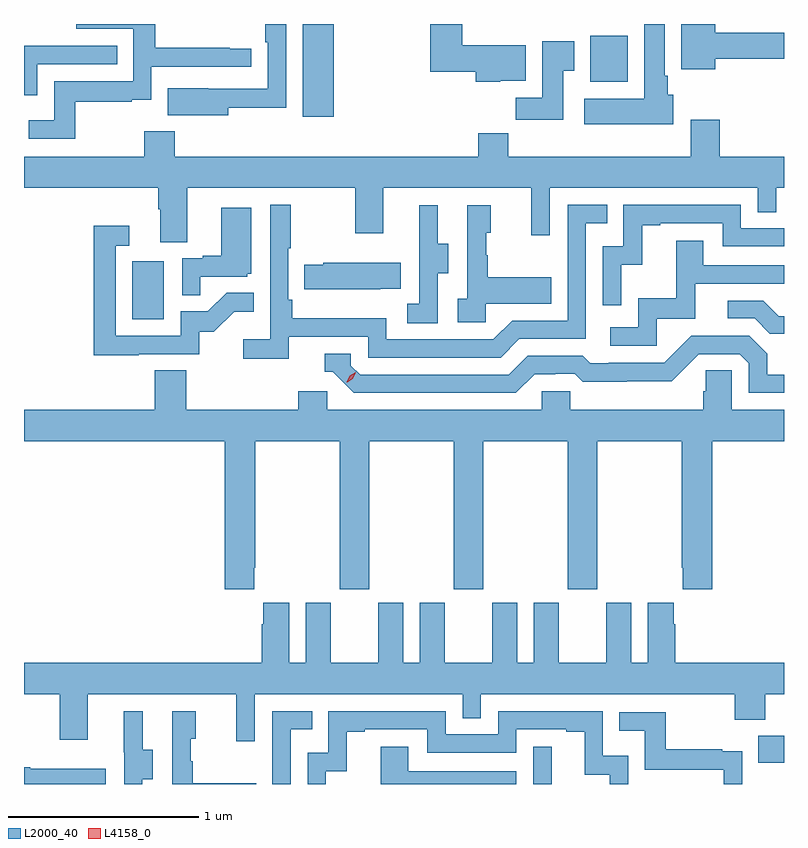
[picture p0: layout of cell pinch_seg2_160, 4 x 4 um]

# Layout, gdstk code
import gdstk
lib = gdstk.Library(unit=1e-6, precision=1e-09)
def R(c, l, rs):  # rectangles x0, y0, x1, y1
    for r in rs: c.add(gdstk.rectangle(r[:2], r[2:], *l))
def P(c, l, *ps):  # polygons
    for p in ps: c.add(gdstk.Polygon(p, *l))
L2000_40 = (2000, 40)
L4158_0 = (4158, 0)

pinch_seg2_160 = lib.new_cell('pinch_seg2_160')
R(pinch_seg2_160, L2000_40, [(1104.27,624.519,1104.367,624.715), (1105.453,624.632,1105.589,624.772), (1102.16,626.964,1102.324,627.271), (1103.057,628.032,1103.218,628.519), (1104.569,628.214,1104.766,628.456)])
P(pinch_seg2_160, L2000_40, [(1105.006,628.146),(1104.976,628.146),(1104.976,628.246),(1104.961,628.246),(1104.961,628.519),(1104.854,628.519),(1104.854,628.126),(1104.537,628.126),(1104.537,627.992),(1105.006,627.992)],
  [(1102.663,628.078),(1102.968,628.078),(1102.968,628.519),(1102.859,628.519),(1102.859,628.424),(1102.872,628.424),(1102.872,628.179),(1102.559,628.179),(1102.559,628.18),(1102.345,628.18),(1102.345,628.04),(1102.663,628.04)],
  [(1105.228,628.336),(1105.589,628.336),(1105.589,628.472),(1105.228,628.472),(1105.228,628.519),(1105.049,628.519),(1105.049,628.28),(1105.228,628.28)],
  [(1104.096,628.22),(1104.229,628.22),(1104.229,628.408),(1103.896,628.408),(1103.896,628.519),(1103.726,628.519),(1103.726,628.268),(1103.966,628.268),(1103.966,628.214),(1104.096,628.214)],
  [(1101.859,628.11),(1102.157,628.11),(1102.157,628.121),(1102.26,628.121),(1102.26,628.293),(1102.786,628.293),(1102.786,628.389),(1102.673,628.389),(1102.673,628.394),(1102.28,628.394),(1102.28,628.519),(1101.863,628.519),(1101.863,628.494),(1102.164,628.494),(1102.164,628.218),(1101.748,628.218),(1101.748,628.012),(1101.613,628.012),(1101.613,627.915),(1101.859,627.915)],
  [(1104.427,628.273),(1104.484,628.273),(1104.484,628.429),(1104.317,628.429),(1104.317,628.132),(1104.178,628.132),(1104.178,628.014),(1104.427,628.014)],
  [(1101.66,628.308),(1102.079,628.308),(1102.079,628.404),(1101.589,628.404),(1101.589,628.145),(1101.66,628.145)],
  [(1105.452,627.529),(1105.548,627.529),(1105.548,627.656),(1105.589,627.656),(1105.589,627.82),(1105.25,627.82),(1105.25,628.015),(1105.097,628.015),(1105.097,627.82),(1104.137,627.82),(1104.137,627.944),(1103.981,627.944),(1103.981,627.82),(1102.382,627.82),(1102.382,627.955),(1102.222,627.955),(1102.222,627.82),(1101.589,627.82),(1101.589,627.656),(1102.295,627.656),(1102.295,627.544),(1102.307,627.544),(1102.307,627.37),(1102.447,627.37),(1102.447,627.656),(1103.332,627.656),(1103.332,627.417),(1103.479,627.417),(1103.479,627.656),(1104.26,627.656),(1104.26,627.408),(1104.357,627.408),(1104.357,627.656),(1105.452,627.656)],
  [(1102.982,626.874),(1103.4,626.874),(1103.4,626.763),(1104.097,626.763),(1104.196,626.862),(1104.546,626.862),(1104.546,627.471),(1104.659,627.471),(1104.659,627.567),(1104.45,627.567),(1104.45,626.958),(1104.159,626.958),(1104.06,626.859),(1103.496,626.859),(1103.496,626.971),(1103,626.971),(1103,627.067),(1102.98,627.067),(1102.98,627.34),(1102.993,627.34),(1102.993,627.568),(1102.884,627.568),(1102.884,626.86),(1102.743,626.86),(1102.743,626.758),(1102.982,626.758)],
  [(1104.732,627.251),(1104.842,627.251),(1104.842,627.459),(1104.937,627.459),(1104.937,627.471),(1105.266,627.471),(1105.266,627.348),(1105.589,627.348),(1105.589,627.444),(1105.362,627.444),(1105.362,627.567),(1104.744,627.567),(1104.744,627.348),(1104.636,627.348),(1104.636,627.039),(1104.732,627.039)],
  [(1104.018,627.047),(1104.365,627.047),(1104.365,627.187),(1104.031,627.187),(1104.031,627.302),(1104.021,627.302),(1104.021,627.42),(1104.046,627.42),(1104.046,627.565),(1103.922,627.565),(1103.922,627.074),(1103.871,627.074),(1103.871,626.949),(1104.018,626.949)],
  [(1103.766,627.208),(1103.821,627.208),(1103.821,627.363),(1103.767,627.363),(1103.767,627.565),(1103.669,627.565),(1103.669,627.351),(1103.67,627.351),(1103.67,627.047),(1103.607,627.047),(1103.607,626.944),(1103.766,626.944)],
  [(1102.517,627.189),(1102.764,627.189),(1102.764,627.204),(1102.786,627.204),(1102.786,627.553),(1102.628,627.553),(1102.628,627.298),(1102.529,627.298),(1102.529,627.285),(1102.422,627.285),(1102.422,627.091),(1102.517,627.091)],
  [(1102.193,626.781),(1102.512,626.781),(1102.512,626.898),(1102.588,626.898),(1102.695,627.005),(1102.799,627.005),(1102.799,627.104),(1102.655,627.104),(1102.557,627.006),(1102.413,627.006),(1102.413,626.877),(1102.071,626.877),(1102.071,627.351),(1102.144,627.351),(1102.144,627.457),(1101.955,627.457),(1101.955,626.776),(1102.193,626.776)],
  [(1104.918,626.967),(1105.123,626.967),(1105.123,627.153),(1105.589,627.153),(1105.589,627.249),(1105.165,627.249),(1105.165,627.379),(1105.021,627.379),(1105.021,627.076),(1104.822,627.076),(1104.822,626.922),(1104.675,626.922),(1104.675,626.826),(1104.918,626.826)],
  [(1103.465,627.125),(1103.573,627.125),(1103.573,627.262),(1103.163,627.262),(1103.163,627.252),(1103.065,627.252),(1103.065,627.122),(1103.465,627.122)],
  [(1105.589,626.982),(1105.561,626.982),(1105.48,627.063),(1105.293,627.063),(1105.293,626.97),(1105.434,626.97),(1105.514,626.89),(1105.589,626.89)],
  [(1104.277,626.676),(1104.384,626.676),(1104.384,626.679),(1104.487,626.679),(1104.529,626.637),(1104.762,626.637),(1104.762,626.639),(1104.998,626.639),(1105.14,626.781),(1105.356,626.781),(1105.404,626.733),(1105.404,626.577),(1105.589,626.577),(1105.589,626.673),(1105.501,626.673),(1105.501,626.783),(1105.407,626.877),(1105.101,626.877),(1104.96,626.736),(1104.667,626.736),(1104.667,626.733),(1104.568,626.733),(1104.529,626.772),(1104.24,626.772),(1104.141,626.673),(1103.358,626.673),(1103.31,626.721),(1103.31,626.784),(1103.171,626.784),(1103.171,626.688),(1103.214,626.688),(1103.325,626.577),(1104.178,626.577)],
  [(1102.442,626.696),(1102.277,626.696),(1102.277,626.488),(1101.589,626.488),(1101.589,626.324),(1102.646,626.324),(1102.646,625.545),(1102.801,625.545),(1102.801,625.657),(1102.806,625.657),(1102.806,626.324),(1103.251,626.324),(1103.251,625.545),(1103.406,625.545),(1103.406,626.324),(1103.851,626.324),(1103.851,625.545),(1104.006,625.545),(1104.006,626.324),(1104.451,626.324),(1104.451,625.545),(1104.606,625.545),(1104.606,626.324),(1105.051,626.324),(1105.051,625.657),(1105.055,625.657),(1105.055,625.545),(1105.211,625.545),(1105.211,626.324),(1105.589,626.324),(1105.589,626.488),(1105.314,626.488),(1105.314,626.696),(1105.177,626.696),(1105.177,626.586),(1105.163,626.586),(1105.163,626.488),(1104.465,626.488),(1104.465,626.586),(1104.315,626.586),(1104.315,626.488),(1103.184,626.488),(1103.184,626.586),(1103.033,626.586),(1103.033,626.488),(1102.442,626.488)],
  [(1103.898,624.865),(1103.994,624.865),(1103.994,624.992),(1105.33,624.992),(1105.33,624.857),(1105.49,624.857),(1105.49,624.992),(1105.589,624.992),(1105.589,625.156),(1105.016,625.156),(1105.016,625.361),(1105.009,625.361),(1105.009,625.474),(1104.872,625.474),(1104.872,625.156),(1104.784,625.156),(1104.784,625.474),(1104.653,625.474),(1104.653,625.156),(1104.403,625.156),(1104.403,625.474),(1104.272,625.474),(1104.272,625.156),(1104.184,625.156),(1104.184,625.474),(1104.053,625.474),(1104.053,625.156),(1103.803,625.156),(1103.803,625.474),(1103.672,625.474),(1103.672,625.156),(1103.584,625.156),(1103.584,625.474),(1103.453,625.474),(1103.453,625.156),(1103.203,625.156),(1103.203,625.474),(1103.072,625.474),(1103.072,625.156),(1102.984,625.156),(1102.984,625.474),(1102.847,625.474),(1102.847,625.361),(1102.841,625.361),(1102.841,625.156),(1101.589,625.156),(1101.589,624.992),(1101.778,624.992),(1101.778,624.753),(1101.925,624.753),(1101.925,624.992),(1102.706,624.992),(1102.706,624.744),(1102.803,624.744),(1102.803,624.992),(1103.898,624.992)],
  [(1102.992,624.807),(1103.105,624.807),(1103.105,624.903),(1102.896,624.903),(1102.896,624.519),(1102.992,624.519)],
  [(1103.178,624.587),(1103.288,624.587),(1103.288,624.795),(1103.383,624.795),(1103.383,624.807),(1103.712,624.807),(1103.712,624.684),(1104.18,624.684),(1104.18,624.807),(1104.443,624.807),(1104.443,624.795),(1104.539,624.795),(1104.539,624.569),(1104.672,624.569),(1104.672,624.519),(1104.768,624.519),(1104.768,624.667),(1104.636,624.667),(1104.636,624.903),(1104.084,624.903),(1104.084,624.78),(1103.808,624.78),(1103.808,624.903),(1103.19,624.903),(1103.19,624.684),(1103.082,624.684),(1103.082,624.519),(1103.178,624.519)],
  [(1102.212,624.544),(1102.267,624.544),(1102.267,624.699),(1102.213,624.699),(1102.213,624.901),(1102.115,624.901),(1102.115,624.687),(1102.116,624.687),(1102.116,624.519),(1102.212,624.519)],
  [(1102.811,624.523),(1102.477,624.523),(1102.477,624.638),(1102.467,624.638),(1102.467,624.756),(1102.492,624.756),(1102.492,624.901),(1102.368,624.901),(1102.368,624.519),(1102.811,624.519)],
  [(1105.368,624.691),(1105.265,624.691),(1105.265,624.703),(1104.967,624.703),(1104.967,624.897),(1104.721,624.897),(1104.721,624.8),(1104.856,624.8),(1104.856,624.594),(1105.272,624.594),(1105.272,624.519),(1105.368,624.519)],
  [(1104.18,624.585),(1103.611,624.585),(1103.611,624.715),(1103.467,624.715),(1103.467,624.519),(1104.18,624.519)],
  [(1102.019,624.598),(1101.622,624.598),(1101.622,624.606),(1101.589,624.606),(1101.589,624.519),(1102.019,624.519)])
P(pinch_seg2_160, L4158_0, [(1103.288,626.634),(1103.288,626.634),(1103.304,626.667),(1103.334,626.686),(1103.334,626.686),(1103.334,626.686),(1103.319,626.653),(1103.289,626.634)])

lib.write_gds('pinch_seg2_160.gds')
